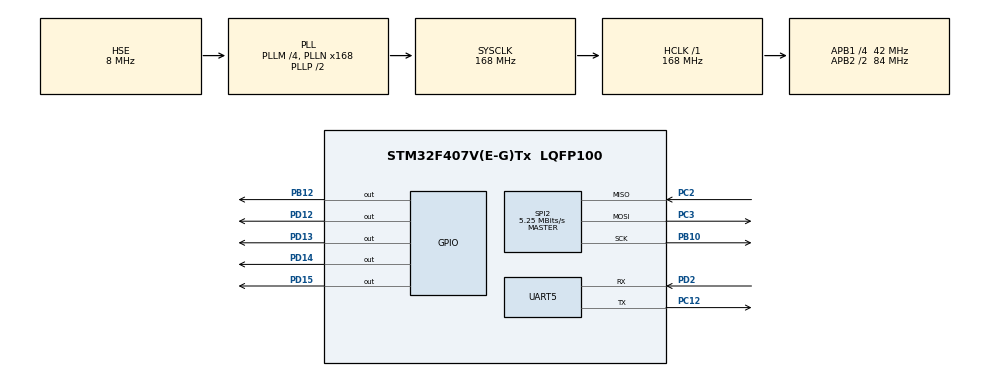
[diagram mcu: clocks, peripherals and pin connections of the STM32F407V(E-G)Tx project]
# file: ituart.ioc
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FATFS._MAX_SS=4096
FATFS._USE_LFN=1
Mcu.Family=STM32F4
Mcu.Name=STM32F407V(E-G)Tx
Mcu.Package=LQFP100
NVIC.PriorityGroup=NVIC_PRIORITYGROUP_4
NVIC.UART5_IRQn=true\:0\:0\:false\:false\:true\:true\:true\:true
PA13.Mode=Serial_Wire
PA13.Signal=SYS_JTMS-SWDIO
PA14.Mode=Serial_Wire
PA14.Signal=SYS_JTCK-SWCLK
PB10.Mode=Full_Duplex_Master
PB10.Signal=SPI2_SCK
PB12.Signal=GPIO_Output
PC12.Mode=Asynchronous
PC12.Signal=UART5_TX
PC14-OSC32_IN.Mode=LSE-External-Oscillator
PC14-OSC32_IN.Signal=RCC_OSC32_IN
PC15-OSC32_OUT.Mode=LSE-External-Oscillator
PC15-OSC32_OUT.Signal=RCC_OSC32_OUT
PC2.Mode=Full_Duplex_Master
PC2.Signal=SPI2_MISO
PC3.Mode=Full_Duplex_Master
PC3.Signal=SPI2_MOSI
PD12.Signal=GPIO_Output
PD13.Signal=GPIO_Output
PD14.Signal=GPIO_Output
PD15.Signal=GPIO_Output
PD2.Mode=Asynchronous
PD2.Signal=UART5_RX
PH0-OSC_IN.Mode=HSE-External-Oscillator
PH0-OSC_IN.Signal=RCC_OSC_IN
PH1-OSC_OUT.Mode=HSE-External-Oscillator
PH1-OSC_OUT.Signal=RCC_OSC_OUT
ProjectManager.HeapSize=0x200
ProjectManager.StackSize=0x400
ProjectManager.TargetToolchain=STM32CubeIDE
RCC.48MHZClocksFreq_Value=84000000
RCC.AHBFreq_Value=168000000
RCC.APB1CLKDivider=RCC_HCLK_DIV4
RCC.APB1Freq_Value=42000000
RCC.APB1TimFreq_Value=84000000
RCC.APB2CLKDivider=RCC_HCLK_DIV2
RCC.APB2Freq_Value=84000000
RCC.APB2TimFreq_Value=168000000
RCC.CortexFreq_Value=168000000
RCC.HCLKFreq_Value=168000000
RCC.HSE_VALUE=8000000
RCC.HSI_VALUE=16000000
RCC.PLLM=4
RCC.PLLN=168
RCC.PLLSourceVirtual=RCC_PLLSOURCE_HSE
RCC.RCC_RTC_Clock_Source=RCC_RTCCLKSOURCE_LSE
RCC.RCC_RTC_Clock_SourceVirtual=RCC_RTCCLKSOURCE_LSE
RCC.SYSCLKFreq_VALUE=168000000
RCC.SYSCLKSource=RCC_SYSCLKSOURCE_PLLCLK
RCC.VCOOutputFreq_Value=336000000
RTC.Date=16
RTC.Month=RTC_MONTH_AUGUST
RTC.WeekDay=RTC_WEEKDAY_WEDNESDAY
RTC.Year=23
SPI2.BaudRatePrescaler=SPI_BAUDRATEPRESCALER_8
SPI2.CalculateBaudRate=5.25 MBits/s
SPI2.Direction=SPI_DIRECTION_2LINES
SPI2.Mode=SPI_MODE_MASTER
SPI2.VirtualType=VM_MASTER
UART5.VirtualMode=Asynchronous
VP_FATFS_VS_Generic.Mode=User_defined
VP_RTC_VS_RTC_Activate.Mode=RTC_Enabled
VP_RTC_VS_RTC_Calendar.Mode=RTC_Calendar
board=custom

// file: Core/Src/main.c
/* USER CODE BEGIN Header */
/**
  ******************************************************************************
  * @file           : main.c
  * @brief          : Main program body
  ******************************************************************************
  * @attention
  *
  * Copyright (c) 2023 STMicroelectronics.
  * All rights reserved.
  *
  * This software is licensed under terms that can be found in the LICENSE file
  * in the root directory of this software component.
  * If no LICENSE file comes with this software, it is provided AS-IS.
  *
  ******************************************************************************
  */
/* USER CODE END Header */
#include "main.h"
#include "fatfs.h"

/* USER CODE BEGIN Includes */
#include "string.h"
#include <stdbool.h>
#include <stdio.h>
/* USER CODE END Includes */

/* USER CODE BEGIN PTD */
char time[30];
char date[30];
/* USER CODE END PTD */

RTC_HandleTypeDef hrtc;

SPI_HandleTypeDef hspi2;

UART_HandleTypeDef huart5;

/* USER CODE BEGIN PV */
RTC_TimeTypeDef sTime;
RTC_DateTypeDef sDate;
char combinedTime[50];
char combinedDate[50];
uint8_t rx_data[1];
char UART_BUFFER[512];
char a[512];
uint8_t flag = 0;
/* USER CODE END PV */

void SystemClock_Config(void);
static void MX_GPIO_Init(void);
static void MX_UART5_Init(void);
static void MX_SPI2_Init(void);
static void MX_RTC_Init(void);
/* USER CODE BEGIN PFP */
void HAL_UART_RxCpltCallback (UART_HandleTypeDef * );

void UartBufferReset(){
	for(int i=0; i<sizeof(UART_BUFFER); i++){
		UART_BUFFER[i]='\0';
				a[i] = '\0';
	}
}

void send_uart(char *data){
	data[strlen(data)+1]='\n';
	 HAL_UART_Transmit_IT(&huart5, data, strlen(data));
}
void process_SD_card( void );
/* USER CODE END PFP */

int main(void)
{

  /* MCU Configuration--------------------------------------------------------*/

  /* Reset of all peripherals, Initializes the Flash interface and the Systick. */
  HAL_Init();

  /* Configure the system clock */
  SystemClock_Config();

  /* Initialize all configured peripherals */
  MX_GPIO_Init();
  MX_UART5_Init();
  MX_SPI2_Init();
  MX_FATFS_Init();
  MX_RTC_Init();
  /* USER CODE BEGIN 2 */
HAL_UART_Transmit(&huart5, "Hello!", 6, 100);
HAL_UART_Transmit(&huart5, "\n", 1, 100);

HAL_UART_Receive_IT(&huart5, rx_data, 1);

  /* USER CODE END 2 */

  /* Infinite loop */
  while (1)
  {

    /* USER CODE BEGIN 3 */
	  HAL_RTC_GetDate(&hrtc, &sDate, RTC_FORMAT_BIN);
	  HAL_RTC_GetTime(&hrtc, &sTime, RTC_FORMAT_BIN);

	  sprintf((char*)time,"%02d:%02d:%02d",sTime.Hours, sTime.Minutes, sTime.Seconds);
	  sprintf((char*)date,"%02d-%02d-%2d",sDate.Date, sDate.Month, 2000 + sDate.Year);

	  //HAL_UART_Transmit(&huart5, (uint8_t *) date, strlen(date), 300);
	  //HAL_UART_Transmit(&huart5, (uint8_t *) time, strlen(time), 300);
	  sprintf(combinedTime, "%s\n", time);
	  sprintf(combinedDate, "%s\n", date);

	  if(flag){
		  if(strcmp(UART_BUFFER, "green_on\r\n") == 0){
			  if(HAL_GPIO_ReadPin(GPIOD, GPIO_PIN_12)){
			  send_uart("yesil led zaten aktif\n");
			  strcpy(a,"yesil led zaten aktif\n") ;
			  process_SD_card();

			  }else{
			  HAL_GPIO_WritePin(GPIOD, GPIO_PIN_12, GPIO_PIN_SET);
			  send_uart("yesil led aktif edildi\n");
			  strcpy(a,"yesil led aktif edildi\n") ;
			  process_SD_card();
			  }
			  UartBufferReset();
			  flag=0;

		  }
		  if(strcmp(UART_BUFFER, "green_off\r\n") == 0){
			 if(HAL_GPIO_ReadPin(GPIOD, GPIO_PIN_12) == 0){
			 send_uart("yesil led zaten kapali\n");
			 strcpy(a,"yesil led zaten kapali\n") ;
			 process_SD_card();
			 }
			 else{
			 HAL_GPIO_WritePin(GPIOD, GPIO_PIN_12, GPIO_PIN_RESET);
			 send_uart("yesil led kapatildi\n");
			 strcpy(a,"yesil led kapatildi\n") ;
			 process_SD_card();
			 }
			 UartBufferReset();
			 flag=0;
		  }
		  if(strcmp(UART_BUFFER, "red_on\r\n") == 0){
		  	 if(HAL_GPIO_ReadPin(GPIOD, GPIO_PIN_14)){
		  	 send_uart("kirmizi led zaten aktif\n");
		  	 strcpy(a,"kirmizi led zaten aktif\n") ;
		  	 process_SD_card();
   		     }else{
		  	 HAL_GPIO_WritePin(GPIOD, GPIO_PIN_14, GPIO_PIN_SET);
		  	 send_uart("kirmizi led aktif edildi\n");
		  	 strcpy(a,"kirmizi led aktif edildi\n") ;
		  	 process_SD_card();
   		     }
		  	 UartBufferReset();
		  	 flag=0;
		     }
		   if(strcmp(UART_BUFFER, "red_off\r\n") == 0){
		     if(HAL_GPIO_ReadPin(GPIOD, GPIO_PIN_14) == 0){
     		 send_uart("kirmizi led zaten kapali\n");
		  	 strcpy(a,"kirmizi led zaten kapali\n") ;
		  	 process_SD_card();
		  	 }
    		 else{
		  	 HAL_GPIO_WritePin(GPIOD, GPIO_PIN_14, GPIO_PIN_RESET);
	  		 send_uart("kirmizi led kapatildi\n");
		  	 strcpy(a,"kirmizi led kapatildi\n") ;
		  	 process_SD_card();
  			 }
		  	 UartBufferReset();
		  	 flag=0;
		  	 }
		  if(strcmp(UART_BUFFER, "blue_on\r\n") == 0){
		  	 if(HAL_GPIO_ReadPin(GPIOD, GPIO_PIN_15)){
		  	 send_uart("mavi led zaten aktif\n");
		  	 strcpy(a,"mavi led zaten aktif\n") ;
		  	 process_SD_card();
		  	 }else{
		     HAL_GPIO_WritePin(GPIOD, GPIO_PIN_15, GPIO_PIN_SET);
    		 send_uart("mavi led aktif edildi\n");
		  	 strcpy(a,"mavi led aktif edildi\n") ;
		  	 process_SD_card();
		  	 }
        	 UartBufferReset();
		  	 flag=0;
		  	 }
		   if(strcmp(UART_BUFFER, "blue_off\r\n") == 0){
		     if(HAL_GPIO_ReadPin(GPIOD, GPIO_PIN_15) == 0){
			 send_uart("mavi led zaten kapali\n");
		  	 strcpy(a,"mavi led zaten kapali\n") ;
		  	 process_SD_card();
		 	 }
			 else{
		  	 HAL_GPIO_WritePin(GPIOD, GPIO_PIN_15, GPIO_PIN_RESET);
		  	 send_uart("mavi led kapatildi\n");
		  	 strcpy(a,"mavi led kapatildi\n") ;
		  	 process_SD_card();
	     	 }
		     UartBufferReset();
		  	 flag=0;
		     }
		  if(strcmp(UART_BUFFER, "orange_on\r\n") == 0){
		     if(HAL_GPIO_ReadPin(GPIOD, GPIO_PIN_13)){
		 	 send_uart("turuncu led zaten aktif\n");
		  	 strcpy(a,"turuncu led zaten aktif\n") ;
		  	 process_SD_card();
		     }else{
		     HAL_GPIO_WritePin(GPIOD, GPIO_PIN_13, GPIO_PIN_SET);
		     send_uart("turuncu led aktif edildi\n");
		  	 strcpy(a,"turuncu led aktif edildi\n") ;
		  	 process_SD_card();
			 }
		 	 UartBufferReset();
		     flag=0;
	         }
		  if(strcmp(UART_BUFFER, "orange_off\r\n") == 0){
		  	 if(HAL_GPIO_ReadPin(GPIOD, GPIO_PIN_13) == 0){
		  	 send_uart("turuncu led zaten kapali\n");
		  	 strcpy(a,"turuncu led zaten kapali\n") ;
		  	 process_SD_card();
		  	 }
		  	 else{
		  	 HAL_GPIO_WritePin(GPIOD, GPIO_PIN_13, GPIO_PIN_RESET);
		  	 send_uart("turuncu led kapatildi\n");
		  	 strcpy(a,"turuncu led kapatildi\n") ;
		  	 process_SD_card();
		     }
		  	 UartBufferReset();
		  	 flag=0;
		     }
		  	 else{
		  		UartBufferReset();
		  		flag=0;
		  	 }

	 }

  }
  /* USER CODE END 3 */
}

void SystemClock_Config(void)
{
  RCC_OscInitTypeDef RCC_OscInitStruct = {0};
  RCC_ClkInitTypeDef RCC_ClkInitStruct = {0};

  /** Configure the main internal regulator output voltage
  */
  __HAL_RCC_PWR_CLK_ENABLE();
  __HAL_PWR_VOLTAGESCALING_CONFIG(PWR_REGULATOR_VOLTAGE_SCALE1);

  /** Initializes the RCC Oscillators according to the specified parameters
  * in the RCC_OscInitTypeDef structure.
  */
  RCC_OscInitStruct.OscillatorType = RCC_OSCILLATORTYPE_HSE|RCC_OSCILLATORTYPE_LSE;
  RCC_OscInitStruct.HSEState = RCC_HSE_ON;
  RCC_OscInitStruct.LSEState = RCC_LSE_ON;
  RCC_OscInitStruct.PLL.PLLState = RCC_PLL_ON;
  RCC_OscInitStruct.PLL.PLLSource = RCC_PLLSOURCE_HSE;
  RCC_OscInitStruct.PLL.PLLM = 4;
  RCC_OscInitStruct.PLL.PLLN = 168;
  RCC_OscInitStruct.PLL.PLLP = RCC_PLLP_DIV2;
  RCC_OscInitStruct.PLL.PLLQ = 4;
  if (HAL_RCC_OscConfig(&RCC_OscInitStruct) != HAL_OK)
  {
    Error_Handler();
  }

  /** Initializes the CPU, AHB and APB buses clocks
  */
  RCC_ClkInitStruct.ClockType = RCC_CLOCKTYPE_HCLK|RCC_CLOCKTYPE_SYSCLK
                              |RCC_CLOCKTYPE_PCLK1|RCC_CLOCKTYPE_PCLK2;
  RCC_ClkInitStruct.SYSCLKSource = RCC_SYSCLKSOURCE_PLLCLK;
  RCC_ClkInitStruct.AHBCLKDivider = RCC_SYSCLK_DIV1;
  RCC_ClkInitStruct.APB1CLKDivider = RCC_HCLK_DIV4;
  RCC_ClkInitStruct.APB2CLKDivider = RCC_HCLK_DIV2;

  if (HAL_RCC_ClockConfig(&RCC_ClkInitStruct, FLASH_LATENCY_5) != HAL_OK)
  {
    Error_Handler();
  }
}

static void MX_RTC_Init(void)
{

  RTC_TimeTypeDef sTime = {0};
  RTC_DateTypeDef sDate = {0};

  /** Initialize RTC Only
  */
  hrtc.Instance = RTC;
  hrtc.Init.HourFormat = RTC_HOURFORMAT_24;
  hrtc.Init.AsynchPrediv = 127;
  hrtc.Init.SynchPrediv = 255;
  hrtc.Init.OutPut = RTC_OUTPUT_DISABLE;
  hrtc.Init.OutPutPolarity = RTC_OUTPUT_POLARITY_HIGH;
  hrtc.Init.OutPutType = RTC_OUTPUT_TYPE_OPENDRAIN;
  if (HAL_RTC_Init(&hrtc) != HAL_OK)
  {
    Error_Handler();
  }

  /** Initialize RTC and set the Time and Date
  */
  sTime.Hours = 0x9;
  sTime.Minutes = 0x54;
  sTime.Seconds = 0x0;
  sTime.DayLightSaving = RTC_DAYLIGHTSAVING_NONE;
  sTime.StoreOperation = RTC_STOREOPERATION_RESET;
  if (HAL_RTC_SetTime(&hrtc, &sTime, RTC_FORMAT_BCD) != HAL_OK)
  {
    Error_Handler();
  }
  sDate.WeekDay = RTC_WEEKDAY_THURSDAY;
  sDate.Month = RTC_MONTH_AUGUST;
  sDate.Date = 0x17;
  sDate.Year = 0x23;

  if (HAL_RTC_SetDate(&hrtc, &sDate, RTC_FORMAT_BCD) != HAL_OK)
  {
    Error_Handler();
  }

}

static void MX_SPI2_Init(void)
{

  /* SPI2 parameter configuration*/
  hspi2.Instance = SPI2;
  hspi2.Init.Mode = SPI_MODE_MASTER;
  hspi2.Init.Direction = SPI_DIRECTION_2LINES;
  hspi2.Init.DataSize = SPI_DATASIZE_8BIT;
  hspi2.Init.CLKPolarity = SPI_POLARITY_LOW;
  hspi2.Init.CLKPhase = SPI_PHASE_1EDGE;
  hspi2.Init.NSS = SPI_NSS_SOFT;
  hspi2.Init.BaudRatePrescaler = SPI_BAUDRATEPRESCALER_8;
  hspi2.Init.FirstBit = SPI_FIRSTBIT_MSB;
  hspi2.Init.TIMode = SPI_TIMODE_DISABLE;
  hspi2.Init.CRCCalculation = SPI_CRCCALCULATION_DISABLE;
  hspi2.Init.CRCPolynomial = 10;
  if (HAL_SPI_Init(&hspi2) != HAL_OK)
  {
    Error_Handler();
  }

}

static void MX_UART5_Init(void)
{

  huart5.Instance = UART5;
  huart5.Init.BaudRate = 115200;
  huart5.Init.WordLength = UART_WORDLENGTH_8B;
  huart5.Init.StopBits = UART_STOPBITS_1;
  huart5.Init.Parity = UART_PARITY_NONE;
  huart5.Init.Mode = UART_MODE_TX_RX;
  huart5.Init.HwFlowCtl = UART_HWCONTROL_NONE;
  huart5.Init.OverSampling = UART_OVERSAMPLING_16;
  if (HAL_UART_Init(&huart5) != HAL_OK)
  {
    Error_Handler();
  }

}

static void MX_GPIO_Init(void)
{
  GPIO_InitTypeDef GPIO_InitStruct = {0};

  /* GPIO Ports Clock Enable */
  __HAL_RCC_GPIOC_CLK_ENABLE();
  __HAL_RCC_GPIOH_CLK_ENABLE();
  __HAL_RCC_GPIOB_CLK_ENABLE();
  __HAL_RCC_GPIOD_CLK_ENABLE();
  __HAL_RCC_GPIOA_CLK_ENABLE();

  /*Configure GPIO pin Output Level */
  HAL_GPIO_WritePin(GPIOB, GPIO_PIN_12, GPIO_PIN_RESET);

  /*Configure GPIO pin Output Level */
  HAL_GPIO_WritePin(GPIOD, GPIO_PIN_12|GPIO_PIN_13|GPIO_PIN_14|GPIO_PIN_15, GPIO_PIN_RESET);

  /*Configure GPIO pin : PB12 */
  GPIO_InitStruct.Pin = GPIO_PIN_12;
  GPIO_InitStruct.Mode = GPIO_MODE_OUTPUT_PP;
  GPIO_InitStruct.Pull = GPIO_NOPULL;
  GPIO_InitStruct.Speed = GPIO_SPEED_FREQ_LOW;
  HAL_GPIO_Init(GPIOB, &GPIO_InitStruct);

  /*Configure GPIO pins : PD12 PD13 PD14 PD15 */
  GPIO_InitStruct.Pin = GPIO_PIN_12|GPIO_PIN_13|GPIO_PIN_14|GPIO_PIN_15;
  GPIO_InitStruct.Mode = GPIO_MODE_OUTPUT_PP;
  GPIO_InitStruct.Pull = GPIO_NOPULL;
  GPIO_InitStruct.Speed = GPIO_SPEED_FREQ_LOW;
  HAL_GPIO_Init(GPIOD, &GPIO_InitStruct);

}

/* USER CODE BEGIN 4 */
void HAL_UART_RxCpltCallback (UART_HandleTypeDef * huart)
{
	if(huart -> Instance == UART5)
	{
		UART_BUFFER[strlen(UART_BUFFER)] = rx_data[0];
		HAL_UART_Receive_IT(&huart5, rx_data, 1);
		if(strstr((char*)UART_BUFFER, "\r\n") !=NULL){
			flag = 1;
		}

/*
		if(index == (2) && (data_array[index - 1] == '\n'))
		{
			HAL_GPIO_TogglePin(GPIOD,( GPIO_PIN_12 << ((data_array[0] -49) & 0x0F)));

		HAL_UART_Transmit(&huart5, "OK", 2, 100);
		HAL_UART_Transmit(&huart5, "\n", 1, 100);
		index = 0;
	}
	else if (index > (2) )
	{
		HAL_UART_Transmit(&huart5, "Error", 5, 100);
		HAL_UART_Transmit(&huart5, "\n", 1, 100);
		index = 0;
	}
	*/
	HAL_UART_Receive_IT(&huart5, rx_data,1);
	}
}

#ifdef __GNUC__
  /* With GCC, small printf (option LD Linker->Libraries->Small printf
     set to 'Yes') calls __io_putchar() */
int __io_putchar(int ch);
#else
int fputc(int ch, FILE *f)
#endif /* __GNUC__ */

void process_SD_card(void)
{
  FATFS       FatFs;                //Fatfs handle
  FIL         fil;                  //File handle
  FRESULT     fres;                 //Result after operations
  char        buf[100];
  int x = 0;
  do
  {
    //Mount the SD Card
    fres = f_mount(&FatFs, "", 1);    //1=mount now
    if (fres != FR_OK)
    {
      //printf("No SD Card found : (%i)\r\n", fres);
      break;
    }

    //Open the file
    fres = f_open(&fil, "log.txt", FA_WRITE | FA_READ | FA_OPEN_APPEND );
    if(fres != FR_OK)
    {
      //printf("File creation/open Error : (%i)\r\n", fres);
      break;
    }

    //printf("Writing data!!!\r\n");
    //write the data
    f_puts(a, &fil);
    f_puts(date, &fil);
    f_puts(time, &fil);
    //close your file
    f_close(&fil);

    //Open the file
  /*  fres = f_open(&fil, "123.txt", FA_READ);
    if(fres != FR_OK)
    {
      //printf("File opening Error : (%i)\r\n", fres);
      break;
    }

    //read the data
    f_gets(buf, sizeof(buf), &fil);

    //printf("Read Data : %s\n", buf);

    //close your file
    f_close(&fil);
    //printf("Closing File!!!\r\n"); */
#if 0
    //Delete the file.
    fres = f_unlink(EmbeTronicX.txt);
    if (fres != FR_OK)
    {
      printf("Cannot able to delete the file\n");
    }
#endif
  } while( false );

  //We're done, so de-mount the drive
  //f_mount(NULL, "", 0);
  //printf("SD Card Unmounted Successfully!!!\r\n");
}

/* USER CODE END 4 */

void Error_Handler(void)
{
  __disable_irq();
  while (1)
  {
  }
}
